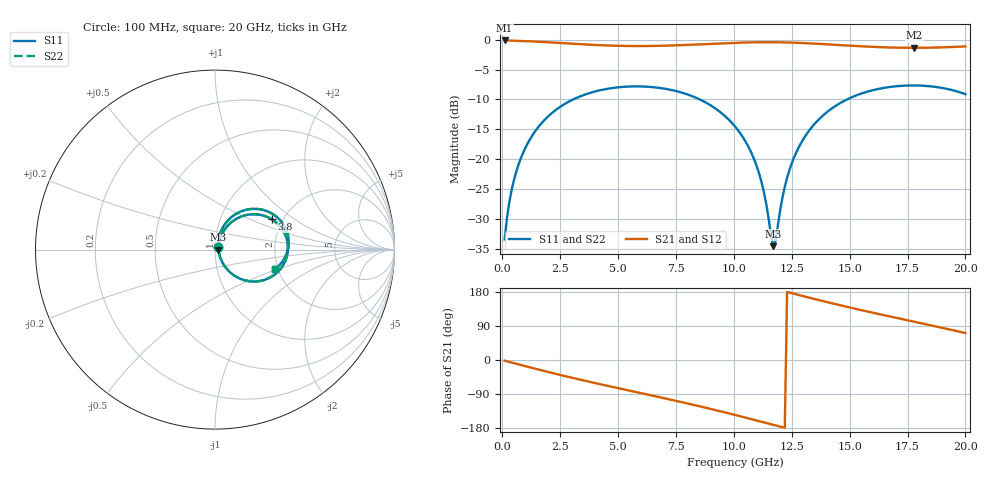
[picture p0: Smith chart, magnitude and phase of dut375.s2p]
! Touchstone file exported from HFSS 2026.1.0
!  File:  C:/ffzhzh/LocalFiles/Ansys_Project_Files/temp_train_TSV_RDL_375_1783041412_55676.aedt
!  Generated:  09:31:24 AM Jul  3, 2026
!  Design:  TSV_RDL
!  Project:  temp_train_TSV_RDL_375_1783041412_55676
! Variables:
!  h_bsmrdl = 4.46um
!  h_ox = 20um
!  h_rdl = 5um
!  h_sub = 65.66um
!  h_tmrdl = 5.19um
!  h_tsv = 65.66um
!  h_via = 3um
!  l_bsmrdl = 202.21um
!  l_sub = 5007.12um
!  l_tmrdl = 968.81um
!  m_sub = 200um
!  pitch = 41.51um
!  r_tsv = 12.8um
!  s_tmrdl = 10um
!  w_bsmrdl = 21.01um
!  w_sub = 500um
!  w_tmrdl = 20.74um
!  x_tsv_center1 = 979.18um
!  x_tsv_center2 = 1202.4um
!  x_tsv_center3 = 2191.95um
!  x_tsv_center4 = 2415.17um
!  x_tsv_center5 = 3404.72um
!  x_tsv_center6 = 3627.94um
# GHz S MA R 50.000000
! Terminal data exported
! Port[1] = TM_RDL1_1_T1
! Port[2] = TM_RDL5_1_T1
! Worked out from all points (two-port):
!   200 points, 100 MHz to 20 GHz, reference 50 ohm
!   highest |S21| = -0.14 dB at 100 MHz (marker M1); lowest = -1.4 dB at 17.8 GHz (marker M2)
!   |S21| within 3 dB of the highest: start of sweep to end of sweep
!   lowest |S11| = -34.5 dB at 11.7 GHz (marker M3), VSWR 1.04, Z = 51.9 - j0.0627 ohm
!   |S11| at or under -10 dB: start of sweep to 3.058 GHz; 8.529 GHz to 14.89 GHz (6.359 GHz wide, 54.3 % of centre)
!   |S22| runs from -34.3 to -7.7 dB; largest |S21 - S12| = 1.8e-14
!   S11 on the Smith chart (normalised r, x): 100 MHz: 1.03, +0.03; 3.8 GHz: 1.76, +0.68; 20 GHz: 1.92, -0.48
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0.1  0.02139 39.2  0.9837 -1.7  0.9837 -1.7  0.02139 39.2
! Gamma 0 0 0 0
! Port Impedance 50 0 50 0
0.3  0.04346 60.4  0.9812 -5.0  0.9812 -5.0  0.04346 60.4
0.5  0.06669 65.1  0.9789 -8.3  0.9789 -8.3  0.06668 65.1
1.1  0.1363 63.3  0.9699 -17.9  0.9699 -17.9  0.1363 63.3
2.1  0.2396 50.9  0.9471 -33.5  0.9471 -33.5  0.2396 50.9
3.5  0.3436 31.9  0.9119 -53.8  0.9119 -53.8  0.3436 32.0
3.8  0.3592 28.0  0.9055 -58.0  0.9055 -58.0  0.3592 28.0
6.8  0.3945 -10.4  0.8872 -98.2  0.8872 -98.2  0.3945 -10.4
8.7  0.3045 -35.2  0.916 -124.7  0.916 -124.7  0.3045 -35.1
10.1  0.183 -53.2  0.941 -145.7  0.941 -145.7  0.183 -53.0
10.7  0.1195 -59.2  0.9481 -155.1  0.9481 -155.1  0.1196 -58.9
11.1  0.07514 -59.9  0.9506 -161.4  0.9506 -161.4  0.0752 -59.5
11.4  0.04226 -52.8  0.9513 -166.2  0.9513 -166.2  0.04244 -52.1
11.7  0.01881 -1.8  0.9508 -171.0  0.9508 -171.0  0.01931 -1.4
11.8  0.0207 30.9  0.9504 -172.6  0.9504 -172.6  0.02119 30.4
12.1  0.04802 67.5  0.9483 -177.4  0.9483 -177.4  0.04828 66.9
12.4  0.08122 72.4  0.9452 177.9  0.9452 177.9  0.08141 72.1
13.4  0.1889 64.9  0.9278 162.3  0.9278 162.3  0.189 64.7
14.8  0.3101 47.1  0.8948 141.5  0.8948 141.5  0.3103 47.0
16.7  0.4012 22.9  0.8598 115.4  0.8598 115.4  0.4013 22.9
17.8  0.4141 9.3  0.8538 100.9  0.8538 100.9  0.4142 9.3
20  0.3502 -18.1  0.877 71.1  0.877 71.1  0.3503 -18.1
